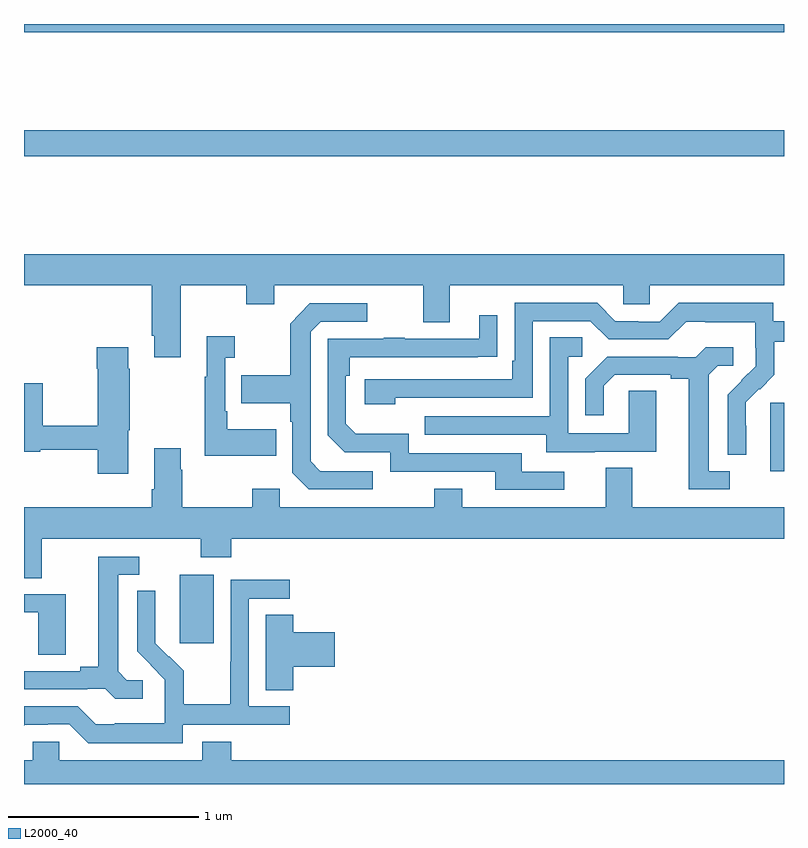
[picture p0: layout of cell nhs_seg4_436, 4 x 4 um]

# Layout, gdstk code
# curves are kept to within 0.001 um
import gdstk
lib = gdstk.Library(unit=1e-6, precision=1e-09)
def R(c, l, rs):  # rectangles x0, y0, x1, y1
    for r in rs: c.add(gdstk.rectangle(r[:2], r[2:], *l))
def P(c, l, *ps):  # polygons
    for p in ps: c.add(gdstk.Polygon(p, *l))
L2000_40 = (2000, 40)

nhs_seg4_436 = lib.new_cell('nhs_seg4_436')
R(nhs_seg4_436, L2000_40, [(133.82,757.641,133.999,758.002), (136.928,758.546,137,758.907), (133,760.204,137,760.34), (133,760.856,137,760.9)])
P(nhs_seg4_436, L2000_40, [(133.825,759.524),(134.17,759.524),(134.17,759.425),(134.317,759.425),(134.317,759.524),(135.101,759.524),(135.101,759.33),(135.241,759.33),(135.241,759.524),(136.155,759.524),(136.155,759.426),(136.293,759.426),(136.293,759.524),(137,759.524),(137,759.688),(133,759.688),(133,759.524),(133.673,759.524),(133.673,759.259),(133.685,759.259),(133.685,759.147),(133.825,759.147)],
  [(136.8,758.786),(136.799,758.909),(136.869,758.979),(136.872,758.976),(136.949,759.053),(136.949,759.228),(137,759.228),(137,759.336),(136.944,759.336),(136.944,759.433),(136.447,759.433),(136.347,759.333),(136.232,759.333),(136.232,759.336),(136.113,759.336),(136.017,759.432),(135.582,759.432),(135.582,759.127),(135.569,759.127),(135.569,759.03),(134.793,759.03),(134.793,758.9),(134.954,758.9),(134.954,758.934),(135.678,758.934),(135.678,759.336),(135.981,759.336),(136.077,759.24),(136.392,759.24),(136.485,759.333),(136.585,759.333),(136.585,759.329),(136.848,759.329),(136.848,759.195),(136.85,759.195),(136.85,759.098),(136.704,758.95),(136.704,758.632),(136.8,758.632)],
  [(134.836,758.547),(134.559,758.547),(134.508,758.598),(134.508,759.279),(134.562,759.333),(134.806,759.333),(134.806,759.429),(134.505,759.429),(134.4,759.323),(134.4,759.051),(134.143,759.051),(134.143,758.903),(134.4,758.903),(134.4,758.807),(134.412,758.807),(134.412,758.538),(134.499,758.451),(134.836,758.451)],
  [(135.844,758.544),(135.619,758.544),(135.619,758.64),(135.024,758.64),(135.024,758.743),(134.747,758.743),(134.694,758.796),(134.694,759.05),(134.714,759.05),(134.714,759.147),(135.491,759.148),(135.491,759.367),(135.395,759.367),(135.395,759.243),(135.005,759.243),(135.005,759.248),(134.893,759.248),(134.893,759.243),(134.598,759.243),(134.598,758.736),(134.688,758.646),(134.928,758.646),(134.928,758.544),(135.479,758.544),(135.479,758.448),(135.844,758.448)],
  [(134.327,758.767),(134.071,758.767),(134.071,758.863),(134.058,758.863),(134.058,759.143),(134.11,759.143),(134.11,759.256),(133.961,759.256),(133.961,759.043),(133.95,759.043),(133.95,758.627),(134.327,758.627)],
  [(136.003,758.649),(136.327,758.649),(136.327,758.969),(136.182,758.969),(136.182,758.745),(135.864,758.745),(135.864,759.15),(135.937,759.15),(135.937,759.251),(135.768,759.251),(135.768,758.835),(135.109,758.835),(135.109,758.739),(135.749,758.739),(135.749,758.645),(136.003,758.645)],
  [(133.549,758.763),(133.557,758.763),(133.557,759.086),(133.549,759.086),(133.549,759.199),(133.382,759.199),(133.382,759.086),(133.387,759.086),(133.387,758.786),(133.098,758.786),(133.098,759.01),(133,759.01),(133,758.65),(133.086,758.65),(133.086,758.658),(133.387,758.658),(133.387,758.532),(133.549,758.532)],
  [(136.714,758.547),(136.603,758.547),(136.603,759.055),(136.65,759.102),(136.732,759.102),(136.732,759.199),(136.588,759.199),(136.536,759.147),(136.442,759.147),(136.442,759.15),(136.07,759.15),(135.954,759.034),(135.954,758.841),(136.051,758.841),(136.051,758.997),(136.108,759.054),(136.403,759.054),(136.403,759.032),(136.499,759.032),(136.499,758.451),(136.714,758.451)],
  [(133.093,758.192),(133.93,758.192),(133.93,758.093),(134.09,758.093),(134.09,758.192),(137,758.192),(137,758.356),(136.201,758.356),(136.201,758.564),(136.061,758.564),(136.061,758.356),(135.307,758.356),(135.307,758.455),(135.16,758.455),(135.16,758.356),(134.346,758.356),(134.346,758.455),(134.2,758.455),(134.2,758.356),(133.833,758.356),(133.833,758.555),(133.825,758.555),(133.825,758.668),(133.685,758.668),(133.685,758.452),(133.673,758.452),(133.673,758.356),(133,758.356),(133,757.984),(133.093,757.984)],
  [(133.624,757.446),(133.542,757.446),(133.495,757.493),(133.495,758.001),(133.606,758.001),(133.606,758.097),(133.391,758.097),(133.391,757.517),(133.295,757.517),(133.295,757.494),(133,757.494),(133,757.398),(133.334,757.398),(133.334,757.401),(133.428,757.401),(133.48,757.349),(133.624,757.349)],
  [(133.836,757.212),(134.398,757.212),(134.398,757.308),(134.184,757.308),(134.184,757.875),(134.398,757.875),(134.398,757.974),(134.088,757.974),(134.088,757.544),(134.086,757.544),(134.086,757.321),(133.841,757.321),(133.841,757.495),(133.764,757.572),(133.761,757.569),(133.691,757.64),(133.692,757.916),(133.596,757.916),(133.596,757.598),(133.742,757.45),(133.742,757.353),(133.74,757.353),(133.74,757.219),(133.477,757.219),(133.477,757.215),(133.377,757.215),(133.284,757.308),(133,757.308),(133,757.207),(133.005,757.212),(133.124,757.212),(133.124,757.215),(133.239,757.215),(133.339,757.115),(133.836,757.115)],
  [(133.219,757.899),(133,757.899),(133,757.803),(133.074,757.803),(133.074,757.579),(133.219,757.579)],
  [(134.417,757.517),(134.635,757.517),(134.635,757.7),(134.417,757.7),(134.417,757.79),(134.273,757.79),(134.273,757.393),(134.417,757.393)],
  [(137,757.024),(134.09,757.024),(134.09,757.123),(133.937,757.123),(133.937,757.024),(133.185,757.024),(133.185,757.122),(133.047,757.122),(133.047,757.024),(133,757.024),(133,756.9),(137,756.9)])

lib.write_gds('nhs_seg4_436.gds')
